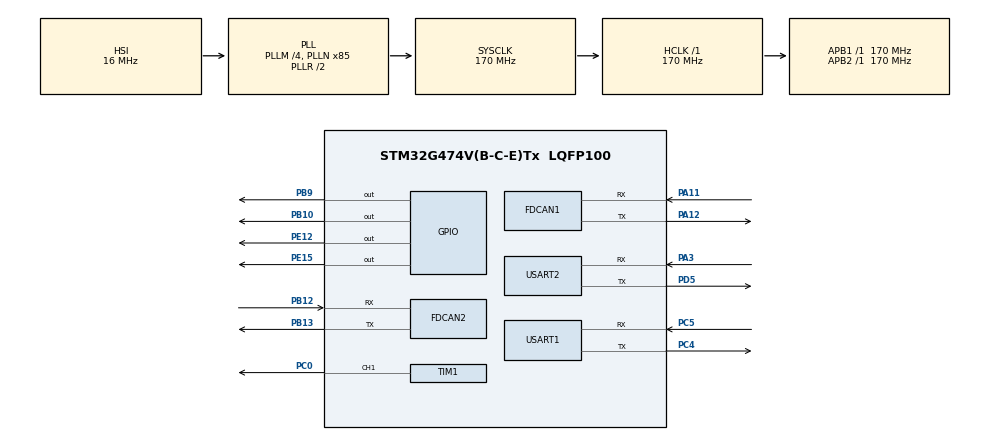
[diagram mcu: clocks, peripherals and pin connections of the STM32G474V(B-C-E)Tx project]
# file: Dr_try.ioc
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FDCAN1.CalculateBaudRateNominal=1000000
FDCAN1.CalculateTimeBitNominal=1000
FDCAN1.CalculateTimeQuantumNominal=100.0
FDCAN1.NominalPrescaler=17
FDCAN1.NominalTimeSeg1=8
FDCAN1.NominalTimeSeg2=1
FDCAN2.AutoRetransmission=ENABLE
FDCAN2.CalculateBaudRateNominal=1000000
FDCAN2.CalculateTimeBitNominal=1000
FDCAN2.CalculateTimeQuantumNominal=100.0
FDCAN2.NominalPrescaler=17
FDCAN2.NominalTimeSeg1=8
FREERTOS.Queues01=AngleQueue,1,16,1,Dynamic,NULL,NULL
FREERTOS.Tasks01=CalculationTask,24,512,StartCalculationTask,Default,NULL,Dynamic,NULL,NULL;PickAndPlace,8,128,StartPickAndPlace,Default,NULL,Dynamic,NULL,NULL;ImuTask,8,128,StartImuTask,Default,NULL,Dynamic,NULL,NULL
Mcu.Family=STM32G4
Mcu.Name=STM32G474V(B-C-E)Tx
Mcu.Package=LQFP100
NVIC.FDCAN1_IT0_IRQn=true\:5\:0\:false\:false\:true\:true\:true\:true\:true
NVIC.FDCAN2_IT0_IRQn=true\:5\:0\:false\:false\:true\:true\:true\:true\:true
NVIC.PriorityGroup=NVIC_PRIORITYGROUP_4
NVIC.TIM4_IRQn=true\:15\:0\:false\:false\:true\:false\:false\:true\:true
NVIC.TimeBase=TIM4_IRQn
NVIC.TimeBaseIP=TIM4
NVIC.USART1_IRQn=true\:5\:0\:false\:false\:true\:true\:true\:true\:true
NVIC.USART2_IRQn=true\:5\:0\:false\:false\:true\:true\:true\:true\:true
PA11.Mode=FDCAN_Activate
PA11.Signal=FDCAN1_RX
PA12.Mode=FDCAN_Activate
PA12.Signal=FDCAN1_TX
PA13.Mode=Serial_Wire
PA13.Signal=SYS_JTMS-SWDIO
PA14.Mode=Serial_Wire
PA14.Signal=SYS_JTCK-SWCLK
PA2.Signal=S_TIM2_CH3
PA3.Mode=Asynchronous
PA3.Signal=USART2_RX
PB10.GPIO_PuPd=GPIO_NOPULL
PB10.GPIO_Speed=GPIO_SPEED_FREQ_HIGH
PB10.PinState=GPIO_PIN_RESET
PB10.Signal=GPIO_Output
PB12.Mode=FDCAN_Activate
PB12.Signal=FDCAN2_RX
PB13.Mode=FDCAN_Activate
PB13.Signal=FDCAN2_TX
PB9.GPIO_FM9=__NULL
PB9.Signal=GPIO_Output
PC0.Signal=S_TIM1_CH1
PC4.Mode=Asynchronous
PC4.Signal=USART1_TX
PC5.Mode=Asynchronous
PC5.Signal=USART1_RX
PD5.Mode=Asynchronous
PD5.Signal=USART2_TX
PE12.Signal=GPIO_Output
PE15.GPIO_PuPd=GPIO_PULLUP
PE15.GPIO_Speed=GPIO_SPEED_FREQ_HIGH
PE15.Signal=GPIO_Output
PF0-OSC_IN.Mode=HSE-External-Oscillator
PF0-OSC_IN.Signal=RCC_OSC_IN
PF1-OSC_OUT.Mode=HSE-External-Oscillator
PF1-OSC_OUT.Signal=RCC_OSC_OUT
ProjectManager.HeapSize=0x200
ProjectManager.StackSize=0x400
ProjectManager.TargetToolchain=CMake
RCC.ADC12Freq_Value=170000000
RCC.ADC345Freq_Value=170000000
RCC.AHBFreq_Value=170000000
RCC.APB1Freq_Value=170000000
RCC.APB1TimFreq_Value=170000000
RCC.APB2Freq_Value=170000000
RCC.APB2TimFreq_Value=170000000
RCC.CortexFreq_Value=170000000
RCC.EXTERNAL_CLOCK_VALUE=12288000
RCC.HCLKFreq_Value=170000000
RCC.HSE_VALUE=48000000
RCC.HSI48_VALUE=48000000
RCC.HSI_VALUE=16000000
RCC.LSE_VALUE=32768
RCC.PLLM=RCC_PLLM_DIV4
RCC.PLLN=85
RCC.SYSCLKFreq_VALUE=170000000
RCC.SYSCLKSource=RCC_SYSCLKSOURCE_PLLCLK
RCC.USBFreq_Value=170000000
RCC.VCOOutputFreq_Value=340000000
SH.S_TIM1_CH1.0=TIM1_CH1,PWM Generation1 CH1
SH.S_TIM2_CH3.0=TIM2_CH3
TIM1.Channel-PWM\ Generation1\ CH1=TIM_CHANNEL_1
TIM1.PeriodNoDither=19999
TIM1.Prescaler=169
USART1.VirtualMode-Asynchronous=VM_ASYNC
USART2.VirtualMode-Asynchronous=VM_ASYNC
VP_FREERTOS_VS_CMSIS_V2.Mode=CMSIS_V2
VP_SYS_VS_DBSignals.Mode=DisableDeadBatterySignals
VP_SYS_VS_tim4.Mode=TIM4
VP_TIM1_VS_ClockSourceINT.Mode=Internal
board=custom

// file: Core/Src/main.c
/* USER CODE BEGIN Header */
/**
  ******************************************************************************
  * @file           : main.c
  * @brief          : Main program body
  ******************************************************************************
  * @attention
  *
  * Copyright (c) 2026 STMicroelectronics.
  * All rights reserved.
  *
  * This software is licensed under terms that can be found in the LICENSE file
  * in the root directory of this software component.
  * If no LICENSE file comes with this software, it is provided AS-IS.
  *
  ******************************************************************************
  */
/* USER CODE END Header */
#include "main.h"
#include "cmsis_os.h"
#include "fdcan.h"
#include "tim.h"
#include "usart.h"
#include "gpio.h"

/* USER CODE BEGIN Includes */
#include "DrEmpower_can.h"
#include <stdio.h>
#include "calculate.h"
#include "motion.h"
#include "dm_imu.h"
#include "myuart.h"
#include "pump.h"
#include "safety.h"
//#include "imu_can.h"
/* USER CODE END Includes */

void SystemClock_Config(void);
void MX_FREERTOS_Init(void);

int main(void)
{

  /* MCU Configuration--------------------------------------------------------*/

  /* Reset of all peripherals, Initializes the Flash interface and the Systick. */
  HAL_Init();

  /* Configure the system clock */
  SystemClock_Config();

  /* Initialize all configured peripherals */
  MX_GPIO_Init();

  /* USER CODE BEGIN GPIO_INIT_SAFETY */
  // 【安全】GPIO初始化后立即执行安全检查
  Safety_EarlyInit();
  /* USER CODE END GPIO_INIT_SAFETY */

  MX_FDCAN1_Init();
  MX_USART1_UART_Init();
  MX_TIM1_Init();
  MX_FDCAN2_Init();
  MX_USART2_UART_Init();
  /* USER CODE BEGIN 2 */
  My_UART_Init(); // 启动UART中断接收
  // 2. 强制发送“切换为被动模式”指令 (寄存器 0x0B, 数据 0 代表被动/应答)
  imu_write_reg(0x0B, 0);
  HAL_Delay(100);

  // 3. 强制发送“保存参数”指令 (防止掉电重启后又变回主动模式)
  imu_save_parameters();
  HAL_Delay(500);
  // 开启舵机 PWM 输出
  HAL_TIM_PWM_Start(&htim1, TIM_CHANNEL_1); //改用tim1的ch1
  printf("\r\n=== 系统启动: 等待 FreeRTOS 接管 ===\r\n");

  // 初始化陀螺仪CAN通信 (模块CAN_ID=0x06, 接收主机MST_ID=0x11, 绑定hfdcan1)
  imu_init(0x06, 0x11, &hfdcan1);
  printf("[Main] IMU CAN initialized. Listening on ID 0x%03X\r\n", 0x06);

  // 初始化气泵控制
  Pump_Init();
  printf("[Main] Pump initialized\r\n");

  // 初始化运动控制和稳定系统
  Motion_StabilityInit();
  printf("[Main] Motion stability control initialized\r\n");

  /* USER CODE END 2 */

  /* Init scheduler */
  osKernelInitialize();  /* Call init function for freertos objects (in cmsis_os2.c) */
  MX_FREERTOS_Init();

  /* Start scheduler */
  osKernelStart();

  /* We should never get here as control is now taken by the scheduler */

  /* Infinite loop */
  while (1)
  {

  }
}

void SystemClock_Config(void)
{
  RCC_OscInitTypeDef RCC_OscInitStruct = {0};
  RCC_ClkInitTypeDef RCC_ClkInitStruct = {0};

  /** Configure the main internal regulator output voltage
  */
  HAL_PWREx_ControlVoltageScaling(PWR_REGULATOR_VOLTAGE_SCALE1_BOOST);

  /** Initializes the RCC Oscillators according to the specified parameters
  * in the RCC_OscInitTypeDef structure.
  */
  RCC_OscInitStruct.OscillatorType = RCC_OSCILLATORTYPE_HSI;
  RCC_OscInitStruct.HSIState = RCC_HSI_ON;
  RCC_OscInitStruct.HSICalibrationValue = RCC_HSICALIBRATION_DEFAULT;
  RCC_OscInitStruct.PLL.PLLState = RCC_PLL_ON;
  RCC_OscInitStruct.PLL.PLLSource = RCC_PLLSOURCE_HSI;
  RCC_OscInitStruct.PLL.PLLM = RCC_PLLM_DIV4;
  RCC_OscInitStruct.PLL.PLLN = 85;
  RCC_OscInitStruct.PLL.PLLP = RCC_PLLP_DIV2;
  RCC_OscInitStruct.PLL.PLLQ = RCC_PLLQ_DIV2;
  RCC_OscInitStruct.PLL.PLLR = RCC_PLLR_DIV2;
  if (HAL_RCC_OscConfig(&RCC_OscInitStruct) != HAL_OK)
  {
    Error_Handler();
  }

  /** Initializes the CPU, AHB and APB buses clocks
  */
  RCC_ClkInitStruct.ClockType = RCC_CLOCKTYPE_HCLK|RCC_CLOCKTYPE_SYSCLK
                              |RCC_CLOCKTYPE_PCLK1|RCC_CLOCKTYPE_PCLK2;
  RCC_ClkInitStruct.SYSCLKSource = RCC_SYSCLKSOURCE_PLLCLK;
  RCC_ClkInitStruct.AHBCLKDivider = RCC_SYSCLK_DIV1;
  RCC_ClkInitStruct.APB1CLKDivider = RCC_HCLK_DIV1;
  RCC_ClkInitStruct.APB2CLKDivider = RCC_HCLK_DIV1;

  if (HAL_RCC_ClockConfig(&RCC_ClkInitStruct, FLASH_LATENCY_4) != HAL_OK)
  {
    Error_Handler();
  }
}

void HAL_TIM_PeriodElapsedCallback(TIM_HandleTypeDef *htim)
{
  if (htim->Instance == TIM4)
  {
    HAL_IncTick();
  }
}

void Error_Handler(void)
{
  __disable_irq();
  while (1)
  {
  }
}

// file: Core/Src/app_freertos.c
/* USER CODE BEGIN Header */
/**
  ******************************************************************************
  * File Name          : app_freertos.c
  * Description        : Code for freertos applications
  ******************************************************************************
  * @attention
  *
  * Copyright (c) 2026 STMicroelectronics.
  * All rights reserved.
  *
  * This software is licensed under terms that can be found in the LICENSE file
  * in the root directory of this software component.
  * If no LICENSE file comes with this software, it is provided AS-IS.
  *
  ******************************************************************************
  */
/* USER CODE END Header */

#include "FreeRTOS.h"
#include "task.h"
#include "main.h"
#include "cmsis_os.h"

/* USER CODE BEGIN Includes */
#include "types.h"
#include "logger.h"
#include "config.h"
#include "state_machine.h"
#include "myuart.h"
#include "motion.h"
#include "pump.h"
#include "app.h"
/* USER CODE END Includes */

/* USER CODE BEGIN PD */
#define TAG "FreeRTOS"

extern SystemContext_t g_system;
/* USER CODE END PD */

/* Definitions for CalculationTask */
osThreadId_t CalculationTaskHandle;
const osThreadAttr_t CalculationTask_attributes = {
  .name = "CalculationTask",
  .priority = (osPriority_t) osPriorityNormal,
  // Ruckig C++ trajectory generation has high stack usage on first update().
  .stack_size = 3072 * 4
};
/* Definitions for PickAndPlace */
osThreadId_t PickAndPlaceHandle;
const osThreadAttr_t PickAndPlace_attributes = {
  .name = "PickAndPlace",
  .priority = (osPriority_t) osPriorityLow,
  // Automatic pick-and-place path now runs IK + Ruckig + debug prints in this task.
  // 1024*4 bytes is not enough and triggers stack overflow on the first motion step.
  .stack_size = 4096 * 4
};
/* Definitions for ImuTask */
osThreadId_t ImuTaskHandle;
const osThreadAttr_t ImuTask_attributes = {
  .name = "ImuTask",
  .priority = (osPriority_t) osPriorityLow,
  .stack_size = 128 * 4
};
/* Definitions for AngleQueue */
osMessageQueueId_t AngleQueueHandle;
const osMessageQueueAttr_t AngleQueue_attributes = {
  .name = "AngleQueue"
};

void StartCalculationTask(void *argument);
void StartPickAndPlace(void *argument);
void StartImuTask(void *argument);

void MX_FREERTOS_Init(void); /* (MISRA C 2004 rule 8.1) */

void MX_FREERTOS_Init(void) {

  /* Create the queue(s) */
  /* creation of AngleQueue */
  AngleQueueHandle = osMessageQueueNew (1, 16, &AngleQueue_attributes);

  /* Create the thread(s) */
  /* creation of CalculationTask */
  CalculationTaskHandle = osThreadNew(StartCalculationTask, NULL, &CalculationTask_attributes);
  if (CalculationTaskHandle == NULL) {
    printf("[RTOS] Create CalculationTask failed\r\n");
  }

  /* creation of PickAndPlace */
  PickAndPlaceHandle = osThreadNew(StartPickAndPlace, NULL, &PickAndPlace_attributes);
  if (PickAndPlaceHandle == NULL) {
    printf("[RTOS] Create PickAndPlace failed\r\n");
  }

  /* creation of ImuTask */
  ImuTaskHandle = osThreadNew(StartImuTask, NULL, &ImuTask_attributes);
  if (ImuTaskHandle == NULL) {
    printf("[RTOS] Create ImuTask failed\r\n");
  }

}

/* USER CODE BEGIN Header_StartCalculationTask */
extern osMessageQueueId_t AngleQueueHandle; /* 声明外部队列句柄 */

/**
  * @brief  Function implementing the CalculationTask thread.
  * @param  argument: Not used
  * @retval None
  */
/* USER CODE END Header_StartCalculationTask */
/**
 * @brief  CalculationTask任务入口函数
 * @param  argument: 未使用
 * @retval None
 * @note   负责跟随模式下的实时运动控制
 */
void StartCalculationTask(void *argument)
{
  /* USER CODE BEGIN StartCalculationTask */
  // 等待系统初始化完成（由 PickAndPlace 任务负责）
  osDelay(4000);

  LOG_I(TAG, "CalculationTask started");

  /* Infinite loop */
  for(;;)
  {
    CalculationTask_Run();
  }
  /* USER CODE END StartCalculationTask */
}

/**
 * @brief  PickAndPlace任务入口函数
 * @param  argument: 未使用
 * @retval None
 * @note   负责系统初始化和自动抓取流程
 */
void StartPickAndPlace(void *argument)
{
  /* USER CODE BEGIN StartPickAndPlace */
  LOG_I(TAG, "=== System Initializing ===");

  // 【安全】立即强制关闭气泵
  Pump_Off();
  osDelay(100);

  // 【安全】强制复位全局状态
  g_system.status.pump_on = false;
  g_system.status.emergency_stop = false;
  g_system.sm.current_state = STATE_IDLE;
  g_system.sm.prev_state = STATE_IDLE;
  g_system.sm.retry_count = 0;

  osDelay(SYSTEM_INIT_DELAY_MS); // 等待电机上电稳定

  // 初始化外设
  Pump_Init();
  My_UART_Init();

  // 初始化状态机
  StateMachine_Init();

  // 机械臂回零
  LOG_I(TAG, "Moving to home position...");
  Motion_SetHome();

  osDelay(MOTOR_READY_DELAY_MS); // 等待回零完成

  LOG_I(TAG, "=== System Ready ===");
  LOG_I(TAG, "Work mode: %s",
        g_system.work_mode == WORK_MODE_AUTO ? "AUTO" :
        g_system.work_mode == WORK_MODE_TEST ? "TEST" : "FOLLOW");

  /* Infinite loop */
  for(;;)
  {
    PickAndPlace_Run();
  }
  /* USER CODE END StartPickAndPlace */
}

/**
 * @brief  ImuTask任务入口函数
 * @param  argument: 未使用
 * @retval None
 * @note   负责IMU数据采集和姿态稳定
 */
void StartImuTask(void *argument)
{
  /* USER CODE BEGIN StartImuTask */
  LOG_I(TAG, "ImuTask started");

  /* Infinite loop */
  for(;;)
  {
    ImuTask_Run();
  }
  /* USER CODE END StartImuTask */
}
